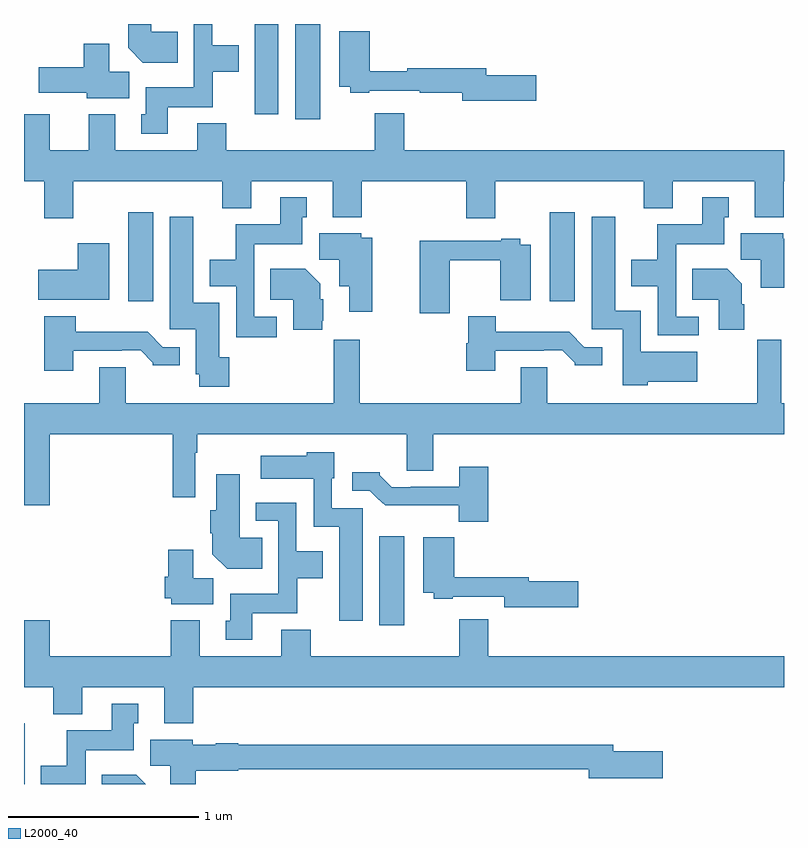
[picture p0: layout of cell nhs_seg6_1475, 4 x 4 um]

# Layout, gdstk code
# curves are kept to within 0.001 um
import gdstk
lib = gdstk.Library(unit=1e-6, precision=1e-09)
def R(c, l, rs):  # rectangles x0, y0, x1, y1
    for r in rs: c.add(gdstk.rectangle(r[:2], r[2:], *l))
def P(c, l, *ps):  # polygons
    for p in ps: c.add(gdstk.Polygon(p, *l))
L2000_40 = (2000, 40)

nhs_seg6_1475 = lib.new_cell('nhs_seg6_1475')
R(nhs_seg6_1475, L2000_40, [(201,941.5,201.004,941.821), (202.871,942.336,203.002,942.805), (201.548,944.04,201.679,944.509), (203.768,944.04,203.899,944.509), (202.427,945,202.558,945.5), (202.214,945.024,202.339,945.5)])
P(nhs_seg6_1475, L2000_40, [(201.757,945.062),(201.993,945.062),(201.993,945.248),(202.129,945.248),(202.129,945.388),(201.99,945.388),(201.99,945.5),(201.894,945.5),(201.894,945.166),(201.641,945.166),(201.641,945.024),(201.617,945.024),(201.617,944.922),(201.757,944.922)],
  [(201.809,945.46),(201.67,945.46),(201.67,945.5),(201.548,945.5),(201.548,945.374),(201.626,945.296),(201.809,945.296)],
  [(203.695,945.23),(203.434,945.23),(203.434,945.266),(203.018,945.266),(203.018,945.251),(202.82,945.251),(202.82,945.463),(202.658,945.463),(202.658,945.17),(202.716,945.17),(202.716,945.138),(202.816,945.138),(202.816,945.15),(203.083,945.15),(203.083,945.138),(203.306,945.138),(203.306,945.095),(203.695,945.095)],
  [(201.553,945.248),(201.448,945.248),(201.448,945.397),(201.314,945.397),(201.314,945.272),(201.078,945.272),(201.078,945.137),(201.33,945.137),(201.33,945.11),(201.553,945.11)],
  [(201.259,944.672),(202.043,944.672),(202.043,944.531),(202.195,944.531),(202.195,944.672),(202.625,944.672),(202.625,944.483),(202.778,944.483),(202.778,944.672),(203.327,944.672),(203.327,944.478),(203.479,944.478),(203.479,944.672),(204.263,944.672),(204.263,944.531),(204.415,944.531),(204.415,944.672),(204.845,944.672),(204.845,944.483),(204.998,944.483),(204.998,944.672),(205,944.672),(205,944.836),(203,944.836),(203,945.031),(202.847,945.031),(202.847,944.836),(202.064,944.836),(202.064,944.977),(201.911,944.977),(201.911,944.836),(201.481,944.836),(201.481,945.025),(201.341,945.025),(201.341,944.836),(201.136,944.836),(201.136,945.025),(201,945.025),(201,944.672),(201.107,944.672),(201.107,944.478),(201.259,944.478)],
  [(204.55,943.959),(204.432,943.959),(204.432,944.342),(204.685,944.342),(204.685,944.484),(204.709,944.484),(204.709,944.587),(204.569,944.587),(204.569,944.446),(204.334,944.446),(204.334,944.26),(204.197,944.26),(204.197,944.12),(204.336,944.12),(204.336,943.863),(204.55,943.863)],
  [(202.33,943.959),(202.212,943.959),(202.212,944.342),(202.465,944.342),(202.465,944.484),(202.489,944.484),(202.489,944.587),(202.349,944.587),(202.349,944.446),(202.114,944.446),(202.114,944.26),(201.977,944.26),(201.977,944.12),(202.116,944.12),(202.116,943.851),(202.33,943.851)],
  [(202.079,943.746),(202.027,943.746),(202.027,944.032),(201.892,944.032),(201.892,944.485),(201.767,944.485),(201.767,943.893),(201.905,943.893),(201.905,943.656),(201.922,943.656),(201.922,943.59),(202.079,943.59)],
  [(204.282,943.616),(204.544,943.616),(204.544,943.774),(204.246,943.774),(204.246,943.99),(204.112,943.99),(204.112,944.485),(203.987,944.485),(203.987,943.893),(204.15,943.893),(204.15,943.598),(204.282,943.598)],
  [(205,944.371),(204.996,944.371),(204.996,944.398),(204.773,944.398),(204.773,944.26),(204.878,944.26),(204.878,944.112),(205,944.112)],
  [(202.834,944.374),(202.776,944.374),(202.776,944.398),(202.553,944.398),(202.553,944.26),(202.658,944.26),(202.658,944.12),(202.712,944.12),(202.712,943.986),(202.834,943.986)],
  [(203.242,944.257),(203.506,944.257),(203.506,944.045),(203.668,944.045),(203.668,944.338),(203.613,944.338),(203.613,944.371),(203.513,944.371),(203.513,944.358),(203.084,944.358),(203.084,943.977),(203.242,943.977)],
  [(201.448,944.347),(201.284,944.347),(201.284,944.206),(201.075,944.206),(201.075,944.048),(201.448,944.048)],
  [(202.57,943.938),(202.576,943.938),(202.576,944.052),(202.558,944.052),(202.558,944.134),(202.48,944.212),(202.297,944.212),(202.297,944.048),(202.418,944.048),(202.418,943.891),(202.57,943.891)],
  [(204.791,944.024),(204.778,944.024),(204.778,944.134),(204.7,944.212),(204.517,944.212),(204.517,944.048),(204.656,944.048),(204.656,943.89),(204.791,943.89)],
  [(203.479,943.779),(203.735,943.779),(203.735,943.782),(203.834,943.782),(203.898,943.718),(203.898,943.703),(204.043,943.703),(204.043,943.8),(203.949,943.8),(203.871,943.879),(203.482,943.879),(203.482,943.963),(203.339,943.963),(203.339,943.821),(203.327,943.821),(203.327,943.674),(203.479,943.674)],
  [(201.259,943.779),(201.515,943.779),(201.515,943.782),(201.614,943.782),(201.678,943.718),(201.678,943.703),(201.82,943.703),(201.82,943.8),(201.729,943.8),(201.651,943.879),(201.272,943.879),(201.272,943.963),(201.107,943.963),(201.107,943.674),(201.259,943.674)],
  [(201.136,943.34),(201.784,943.34),(201.784,943.008),(201.9,943.008),(201.9,943.244),(201.913,943.244),(201.913,943.34),(203.015,943.34),(203.015,943.15),(203.155,943.15),(203.155,943.34),(205,943.34),(205,943.504),(204.986,943.504),(204.986,943.837),(204.858,943.837),(204.858,943.504),(203.755,943.504),(203.755,943.694),(203.615,943.694),(203.615,943.504),(202.766,943.504),(202.766,943.837),(202.63,943.837),(202.63,943.504),(201.535,943.504),(201.535,943.694),(201.395,943.694),(201.395,943.504),(201,943.504),(201,942.966),(201.136,942.966)],
  [(202.783,942.951),(202.62,942.951),(202.62,943.11),(202.633,943.11),(202.633,943.246),(202.488,943.246),(202.488,943.228),(202.245,943.228),(202.245,943.106),(202.524,943.106),(202.524,942.854),(202.658,942.854),(202.658,942.36),(202.783,942.36)],
  [(203.444,943.171),(203.291,943.171),(203.291,943.065),(203.035,943.065),(203.035,943.062),(202.936,943.062),(202.872,943.126),(202.872,943.141),(202.728,943.141),(202.728,943.044),(202.821,943.044),(202.9,942.966),(203.289,942.966),(203.289,942.881),(203.444,942.881)],
  [(202.253,942.796),(202.135,942.796),(202.135,943.129),(202.013,943.129),(202.013,942.942),(201.98,942.942),(201.98,942.82),(201.992,942.82),(201.992,942.71),(202.07,942.632),(202.253,942.632)],
  [(202.201,942.398),(202.437,942.398),(202.437,942.584),(202.573,942.584),(202.573,942.724),(202.434,942.724),(202.434,942.981),(202.221,942.981),(202.221,942.885),(202.338,942.885),(202.338,942.502),(202.085,942.502),(202.085,942.36),(202.061,942.36),(202.061,942.258),(202.201,942.258)],
  [(203.917,942.566),(203.656,942.566),(203.656,942.587),(203.264,942.587),(203.264,942.799),(203.102,942.799),(203.102,942.506),(203.157,942.506),(203.157,942.474),(203.257,942.474),(203.257,942.486),(203.528,942.486),(203.528,942.431),(203.917,942.431)],
  [(201.997,942.584),(201.892,942.584),(201.892,942.733),(201.758,942.733),(201.758,942.591),(201.74,942.591),(201.74,942.477),(201.774,942.477),(201.774,942.446),(201.997,942.446)],
  [(201.89,942.008),(205,942.008),(205,942.172),(203.444,942.172),(203.444,942.367),(203.291,942.367),(203.291,942.172),(202.508,942.172),(202.508,942.313),(202.355,942.313),(202.355,942.172),(201.925,942.172),(201.925,942.361),(201.773,942.361),(201.773,942.172),(201.136,942.172),(201.136,942.361),(201,942.361),(201,942.008),(201.155,942.008),(201.155,941.867),(201.307,941.867),(201.307,942.008),(201.737,942.008),(201.737,941.819),(201.89,941.819)],
  [(201.324,941.678),(201.577,941.678),(201.577,941.82),(201.601,941.82),(201.601,941.923),(201.461,941.923),(201.461,941.782),(201.226,941.782),(201.226,941.596),(201.089,941.596),(201.089,941.5),(201.324,941.5)],
  [(201.905,941.57),(202.128,941.57),(202.128,941.578),(203.972,941.578),(203.972,941.531),(204.361,941.531),(204.361,941.673),(204.1,941.673),(204.1,941.707),(202.128,941.707),(202.128,941.715),(202.008,941.715),(202.008,941.707),(201.888,941.707),(201.888,941.734),(201.665,941.734),(201.665,941.596),(201.77,941.596),(201.77,941.5),(201.905,941.5)],
  [(201.592,941.548),(201.409,941.548),(201.409,941.5),(201.64,941.5)])

lib.write_gds('nhs_seg6_1475.gds')
